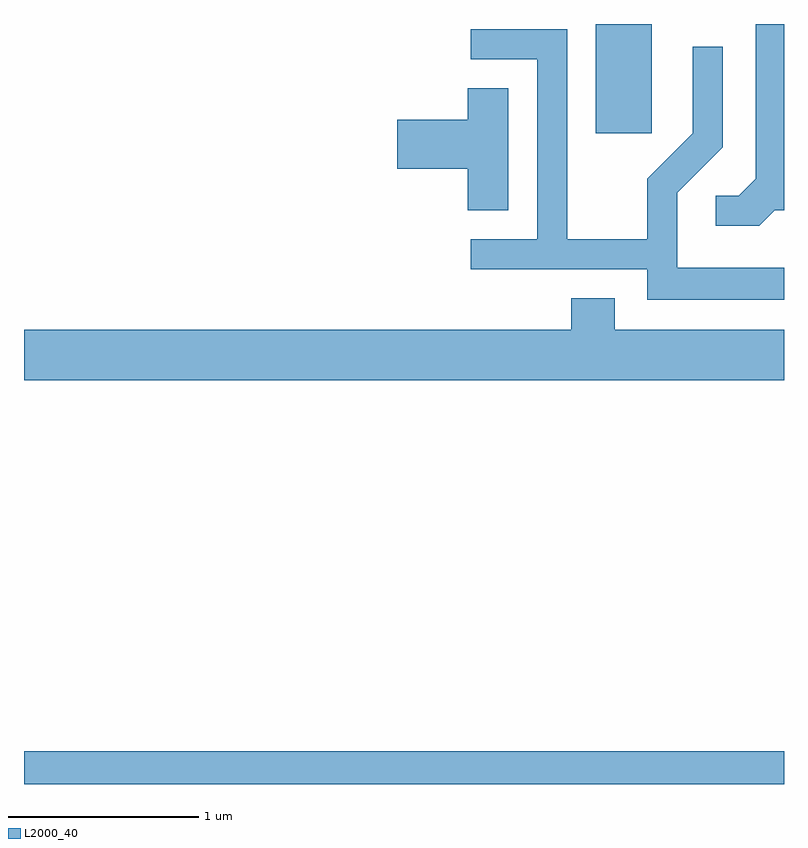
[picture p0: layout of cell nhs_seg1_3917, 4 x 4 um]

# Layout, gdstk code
import gdstk
lib = gdstk.Library(unit=1e-6, precision=1e-09)
def R(c, l, rs):  # rectangles x0, y0, x1, y1
    for r in rs: c.add(gdstk.rectangle(r[:2], r[2:], *l))
def P(c, l, *ps):  # polygons
    for p in ps: c.add(gdstk.Polygon(p, *l))
L2000_40 = (2000, 40)

nhs_seg1_3917 = lib.new_cell('nhs_seg1_3917')
R(nhs_seg1_3917, L2000_40, [(303.611,859.712,307.611,859.884), (306.621,863.136,306.914,863.712)])
P(nhs_seg1_3917, L2000_40, [(307.562,862.731),(307.611,862.731),(307.611,863.712),(307.461,863.712),(307.461,862.897),(307.374,862.809),(307.253,862.809),(307.253,862.651),(307.482,862.651)],
  [(307.611,862.429),(307.049,862.429),(307.049,862.824),(307.289,863.064),(307.289,863.593),(307.131,863.593),(307.131,863.137),(306.891,862.897),(306.891,862.579),(306.469,862.579),(306.469,863.684),(305.963,863.684),(305.963,863.526),(306.311,863.526),(306.311,862.579),(305.963,862.579),(305.963,862.421),(306.891,862.421),(306.891,862.261),(307.611,862.261)],
  [(306.159,863.374),(305.946,863.374),(305.946,863.209),(305.576,863.209),(305.576,862.951),(305.946,862.951),(305.946,862.731),(306.159,862.731)],
  [(307.611,862.104),(306.719,862.104),(306.719,862.269),(306.491,862.269),(306.491,862.104),(303.611,862.104),(303.611,861.836),(307.611,861.836)])

lib.write_gds('nhs_seg1_3917.gds')
